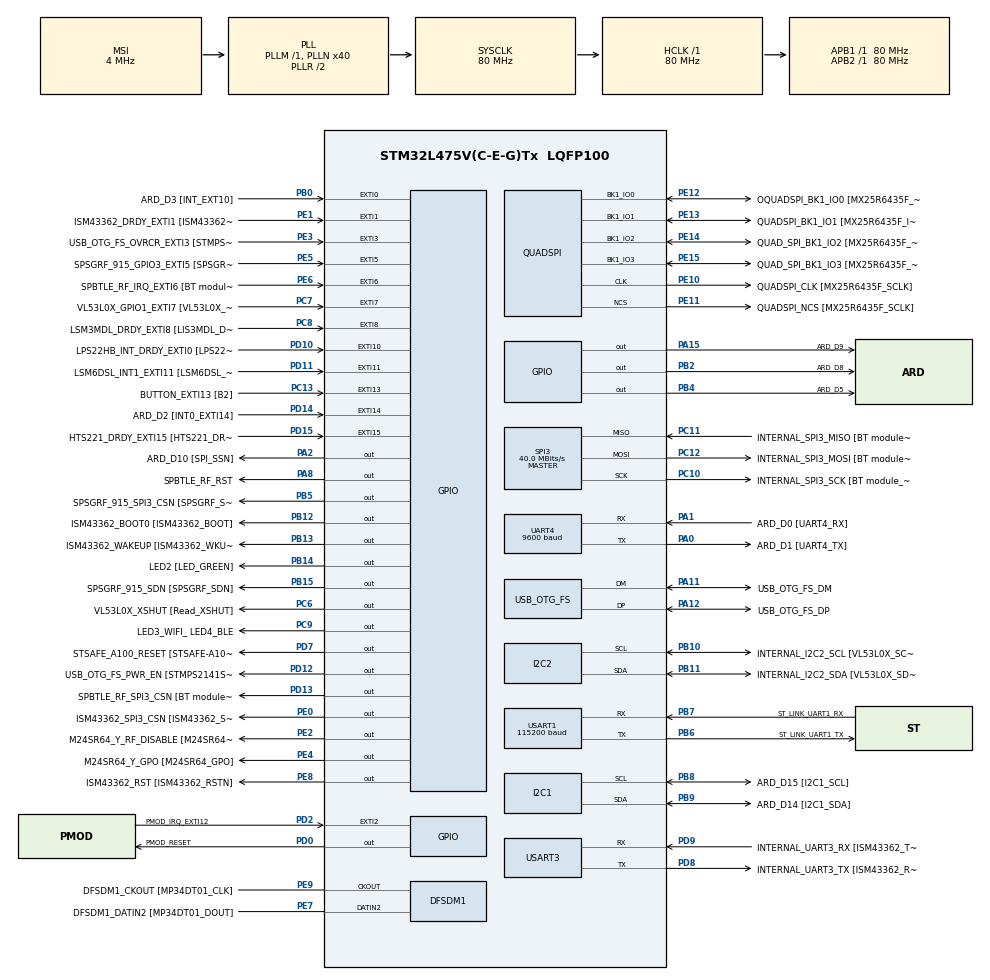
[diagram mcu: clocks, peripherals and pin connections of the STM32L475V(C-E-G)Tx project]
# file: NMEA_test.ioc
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Dma.Request0=UART4_RX
Dma.UART4_RX.0.Direction=DMA_PERIPH_TO_MEMORY
Dma.UART4_RX.0.Instance=DMA2_Channel5
Dma.UART4_RX.0.MemDataAlignment=DMA_MDATAALIGN_BYTE
Dma.UART4_RX.0.MemInc=DMA_MINC_ENABLE
Dma.UART4_RX.0.Mode=DMA_NORMAL
Dma.UART4_RX.0.PeriphDataAlignment=DMA_PDATAALIGN_BYTE
Dma.UART4_RX.0.PeriphInc=DMA_PINC_DISABLE
Dma.UART4_RX.0.Priority=DMA_PRIORITY_LOW
I2C1.Speed=100
I2C1.Timing=0x10909CEC
I2C2.Timing=0x10909CEC
Mcu.Family=STM32L4
Mcu.Name=STM32L475V(C-E-G)Tx
Mcu.Package=LQFP100
NVIC.DMA2_Channel5_IRQn=true\:0\:0\:false\:false\:true\:false\:true
NVIC.EXTI15_10_IRQn=true\:0\:0\:false\:false\:true\:true\:true
NVIC.EXTI9_5_IRQn=true\:0\:0\:false\:false\:true\:true\:true
NVIC.I2C1_EV_IRQn=true\:0\:0\:false\:false\:true\:true\:true
NVIC.PriorityGroup=NVIC_PRIORITYGROUP_4
NVIC.UART4_IRQn=true\:0\:0\:false\:false\:true\:true\:true
NVIC.USART1_IRQn=true\:0\:0\:false\:false\:true\:true\:true
PA0.GPIO_Label=ARD_D1 [UART4_TX]
PA0.Mode=Asynchronous
PA0.Signal=UART4_TX
PA1.GPIO_Label=ARD_D0 [UART4_RX]
PA1.Mode=Asynchronous
PA1.Signal=UART4_RX
PA10.GPIO_Label=USB_OTG_FS_ID
PA10.Signal=USB_OTG_FS_ID
PA11.GPIO_Label=USB_OTG_FS_DM
PA11.Mode=Device_Only
PA11.Signal=USB_OTG_FS_DM
PA12.GPIO_Label=USB_OTG_FS_DP
PA12.Mode=Device_Only
PA12.Signal=USB_OTG_FS_DP
PA13\ (JTMS-SWDIO).GPIO_Label=SYS_JTMS_SWDIO
PA13\ (JTMS-SWDIO).Mode=Serial_Wire
PA13\ (JTMS-SWDIO).Signal=SYS_JTMS-SWDIO
PA14\ (JTCK-SWCLK).GPIO_Label=SYS_JTCK_SWCLK
PA14\ (JTCK-SWCLK).Mode=Serial_Wire
PA14\ (JTCK-SWCLK).Signal=SYS_JTCK-SWCLK
PA15\ (JTDI).GPIO_Label=ARD_D9
PA15\ (JTDI).Signal=GPIO_Output
PA2.GPIO_Label=ARD_D10 [SPI_SSN]
PA2.Signal=GPIO_Output
PA3.GPIO_Label=ARD_D4
PA3.Signal=S_TIM2_CH4
PA4.GPIO_Label=ARD_D7
PA4.Signal=ADCx_IN9
PA5.GPIO_Label=ARD_D13 [SPI1_SCK]
PA5.Signal=SPI1_SCK
PA6.GPIO_Label=ARD_D12 [SPI1_MISO]
PA6.Signal=SPI1_MISO
PA7.GPIO_Label=ARD_D11 [SPI1_MOSI]
PA7.Signal=SPI1_MOSI
PA8.GPIO_Label=SPBTLE_RF_RST
PA8.Signal=GPIO_Output
PA9.GPIO_Label=USB_OTG_FS_VBUS [STMPS2141STR_OUT]
PA9.Signal=USB_OTG_FS_VBUS
PB0.GPIO_Label=ARD_D3 [INT_EXT10]
PB0.Signal=GPXTI0
PB1.GPIO_Label=ARD_D6 [ADC1_IN6]
PB1.Signal=ADCx_IN16
PB10.GPIO_Label=INTERNAL_I2C2_SCL [VL53L0X_SCL]
PB10.Mode=I2C
PB10.Signal=I2C2_SCL
PB11.GPIO_Label=INTERNAL_I2C2_SDA [VL53L0X_SDA]
PB11.Mode=I2C
PB11.Signal=I2C2_SDA
PB12.GPIO_Label=ISM43362_BOOT0 [ISM43362_BOOT]
PB12.Signal=GPIO_Output
PB13.GPIO_Label=ISM43362_WAKEUP [ISM43362_WKUP]
PB13.Signal=GPIO_Output
PB14.GPIO_Label=LED2 [LED_GREEN]
PB14.Signal=GPIO_Output
PB15.GPIO_Label=SPSGRF_915_SDN [SPSGRF_SDN]
PB15.Signal=GPIO_Output
PB2.GPIO_Label=ARD_D8
PB2.Signal=GPIO_Output
PB3\ (JTDO-TRACESWO).GPIO_Label=SYS_JTD0_SWO
PB3\ (JTDO-TRACESWO).Signal=SYS_JTDO-SWO
PB4\ (NJTRST).GPIO_Label=ARD_D5
PB4\ (NJTRST).Signal=GPIO_Output
PB5.GPIO_Label=SPSGRF_915_SPI3_CSN [SPSGRF_SPI_CS]
PB5.PinState=GPIO_PIN_SET
PB5.Signal=GPIO_Output
PB6.GPIO_Label=ST_LINK_UART1_TX
PB6.Mode=Asynchronous
PB6.Signal=USART1_TX
PB7.GPIO_Label=ST_LINK_UART1_RX
PB7.Mode=Asynchronous
PB7.Signal=USART1_RX
PB8.GPIO_Label=ARD_D15 [I2C1_SCL]
PB8.Mode=I2C
PB8.Signal=I2C1_SCL
PB9.GPIO_Label=ARD_D14 [I2C1_SDA]
PB9.Mode=I2C
PB9.Signal=I2C1_SDA
PC0.GPIO_Label=ARD_A5 [ADC]
PC0.Signal=ADCx_IN1
PC1.GPIO_Label=ARD_A4 [ADC]
PC1.Signal=ADCx_IN2
PC10.GPIO_Label=INTERNAL_SPI3_SCK [BT module_SPI_SCLK] [ISM43362_SCK]
PC10.Mode=Full_Duplex_Master
PC10.Signal=SPI3_SCK
PC11.GPIO_Label=INTERNAL_SPI3_MISO [BT module_SPI_MISO] [ISM43362_MISO]
PC11.Mode=Full_Duplex_Master
PC11.Signal=SPI3_MISO
PC12.GPIO_Label=INTERNAL_SPI3_MOSI [BT module_SPI_MOSI] [ISM43362_MOSI]
PC12.Mode=Full_Duplex_Master
PC12.Signal=SPI3_MOSI
PC13.GPIO_Label=BUTTON_EXTI13 [B2]
PC13.GPIO_ModeDefaultEXTI=GPIO_MODE_IT_FALLING
PC13.Signal=GPXTI13
PC14-OSC32_IN\ (PC14).Mode=LSE-External-Oscillator
PC14-OSC32_IN\ (PC14).Signal=RCC_OSC32_IN
PC15-OSC32_OUT\ (PC15).Mode=LSE-External-Oscillator
PC15-OSC32_OUT\ (PC15).Signal=RCC_OSC32_OUT
PC2.GPIO_Label=ARD_A3 [ADC]
PC2.Signal=ADCx_IN3
PC3.GPIO_Label=ARD_A2 [ADC]
PC3.Signal=ADCx_IN4
PC4.GPIO_Label=ARD_A1 [ADC]
PC4.Signal=ADCx_IN13
PC5.GPIO_Label=ARD_A0 [ADC]
PC5.Signal=ADCx_IN14
PC6.GPIO_Label=VL53L0X_XSHUT [Read_XSHUT]
PC6.Signal=GPIO_Output
PC7.GPIO_Label=VL53L0X_GPIO1_EXTI7 [VL53L0X_GPIO1]
PC7.Signal=GPXTI7
PC8.GPIO_Label=LSM3MDL_DRDY_EXTI8 [LIS3MDL_DRDY]
PC8.Signal=GPXTI8
PC9.GPIO_Label=LED3_WIFI_ LED4_BLE
PC9.Signal=GPIO_Output
PD0.GPIO_Label=PMOD_RESET
PD0.Signal=GPIO_Output
PD1.GPIO_Label=PMOD_SPI2_SCK
PD1.Signal=SPI2_SCK
PD10.GPIO_Label=LPS22HB_INT_DRDY_EXTI0 [LPS22HB_INT_DRDY] 
PD10.Signal=GPXTI10
PD11.GPIO_Label=LSM6DSL_INT1_EXTI11 [LSM6DSL_INT1]
PD11.Signal=GPXTI11
PD12.GPIO_Label=USB_OTG_FS_PWR_EN [STMPS2141STR_EN]
PD12.Signal=GPIO_Output
PD13.GPIO_Label=SPBTLE_RF_SPI3_CSN [BT module_SPI_CS]
PD13.PinState=GPIO_PIN_SET
PD13.Signal=GPIO_Output
PD14.GPIO_Label=ARD_D2 [INT0_EXTI14]
PD14.Signal=GPXTI14
PD15.GPIO_Label=HTS221_DRDY_EXTI15 [HTS221_DRDY]
PD15.Signal=GPXTI15
PD2.GPIO_Label=PMOD_IRQ_EXTI12
PD2.Signal=GPXTI2
PD3.GPIO_Label=PMOD_UART2_CTS
PD3.Signal=USART2_CTS
PD4.GPIO_Label=PMOD_UART2_RTS
PD4.Signal=USART2_RTS
PD5.GPIO_Label=PMOD_UART2_TX
PD5.Signal=USART2_TX
PD6.GPIO_Label=PMOD_UART2_RX
PD6.Signal=USART2_RX
PD7.GPIO_Label=STSAFE_A100_RESET [STSAFE-A100_RESET]
PD7.Signal=GPIO_Output
PD8.GPIO_Label=INTERNAL_UART3_TX [ISM43362_RX]
PD8.Mode=Asynchronous
PD8.Signal=USART3_TX
PD9.GPIO_Label=INTERNAL_UART3_RX [ISM43362_TX]
PD9.Mode=Asynchronous
PD9.Signal=USART3_RX
PE0.GPIO_Label=ISM43362_SPI3_CSN [ISM43362_SSN]
PE0.PinState=GPIO_PIN_SET
PE0.Signal=GPIO_Output
PE1.GPIO_Label=ISM43362_DRDY_EXTI1 [ISM43362_DATARDY]
PE1.Signal=GPXTI1
PE10.GPIO_Label=QUADSPI_CLK [MX25R6435F_SCLK]
PE10.Mode=Single Bank
PE10.Signal=QUADSPI_CLK
PE11.GPIO_Label=QUADSPI_NCS [MX25R6435F_SCLK]
PE11.Mode=Single Bank
PE11.Signal=QUADSPI_NCS
PE12.GPIO_Label=OQUADSPI_BK1_IO0 [MX25R6435F_IO0]
PE12.Mode=Single Bank
PE12.Signal=QUADSPI_BK1_IO0
PE13.GPIO_Label=QUADSPI_BK1_IO1 [MX25R6435F_IO1]
PE13.Mode=Single Bank
PE13.Signal=QUADSPI_BK1_IO1
PE14.GPIO_Label=QUAD_SPI_BK1_IO2 [MX25R6435F_IO2]
PE14.Mode=Single Bank
PE14.Signal=QUADSPI_BK1_IO2
PE15.GPIO_Label=QUAD_SPI_BK1_IO3 [MX25R6435F_IO3]
PE15.Mode=Single Bank
PE15.Signal=QUADSPI_BK1_IO3
PE2.GPIO_Label=M24SR64_Y_RF_DISABLE [M24SR64_RFDIS]
PE2.Signal=GPIO_Output
PE3.GPIO_Label=USB_OTG_FS_OVRCR_EXTI3 [STMPS2141STR_FAULT]
PE3.Signal=GPXTI3
PE4.GPIO_Label=M24SR64_Y_GPO [M24SR64_GPO]
PE4.Signal=GPIO_Output
PE5.GPIO_Label=SPSGRF_915_GPIO3_EXTI5 [SPSGRF_GPIO_3]
PE5.Signal=GPXTI5
PE6.GPIO_Label=SPBTLE_RF_IRQ_EXTI6 [BT module_SPI_IRQ]
PE6.Signal=GPXTI6
PE7.GPIO_Label=DFSDM1_DATIN2 [MP34DT01_DOUT]
PE7.Signal=S_DATAIN2DFSDM1
PE8.GPIO_Label=ISM43362_RST [ISM43362_RSTN]
PE8.Signal=GPIO_Output
PE9.GPIO_Label=DFSDM1_CKOUT [MP34DT01_CLK]
PE9.Signal=S_CKOUTDFSDM1
ProjectManager.HeapSize=0x200
ProjectManager.StackSize=0x400
ProjectManager.TargetToolchain=STM32CubeIDE
RCC.ADCFreq_Value=48000000
RCC.AHBFreq_Value=80000000
RCC.APB1Freq_Value=80000000
RCC.APB1TimFreq_Value=80000000
RCC.APB2Freq_Value=80000000
RCC.APB2TimFreq_Value=80000000
RCC.CortexFreq_Value=80000000
RCC.HCLKFreq_Value=80000000
RCC.HSE_VALUE=8000000
RCC.HSI_VALUE=16000000
RCC.MSI_VALUE=4000000
RCC.PLLN=40
RCC.PLLSAI1N=24
RCC.SYSCLKFreq_VALUE=80000000
RCC.SYSCLKSource=RCC_SYSCLKSOURCE_PLLCLK
RCC.USBFreq_Value=48000000
RCC.VCOOutputFreq_Value=160000000
SH.ADCx_IN1.0=ADC1_IN1
SH.ADCx_IN13.0=ADC1_IN13
SH.ADCx_IN14.0=ADC1_IN14
SH.ADCx_IN16.0=ADC1_IN16
SH.ADCx_IN2.0=ADC1_IN2
SH.ADCx_IN3.0=ADC1_IN3
SH.ADCx_IN4.0=ADC1_IN4
SH.ADCx_IN9.0=ADC1_IN9
SH.S_CKOUTDFSDM1.0=DFSDM1_CKOUT,CKOUT
SH.S_CKOUTDFSDM1.1=DFSDM1_CKOUT,PDM_SPI_Input_from_ch12_and_Internal_Clock
SH.S_DATAIN2DFSDM1.0=DFSDM1_DATIN2,PDM_SPI_Input_from_ch12_and_Internal_Clock
SH.S_TIM2_CH4.0=TIM2_CH4
SPI3.CalculateBaudRate=40.0 MBits/s
SPI3.Direction=SPI_DIRECTION_2LINES
SPI3.Mode=SPI_MODE_MASTER
SPI3.VirtualType=VM_MASTER
UART4.BaudRate=9600
USART1.BaudRate=115200
USART1.VirtualMode-Asynchronous=VM_ASYNC
USART3.VirtualMode-Asynchronous=VM_ASYNC
USB_OTG_FS.VirtualMode=Device_Only
board=B-L475E-IOT01A2

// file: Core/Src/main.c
/* USER CODE BEGIN Header */
/**
  ******************************************************************************
  * @file           : main.c
  * @brief          : Main program body
  * @author			Michał Pałka
  ******************************************************************************
  * @attention
  *
  * <h2><center>&copy; Copyright (c) 2020 STMicroelectronics.
  * All rights reserved.</center></h2>
  *
  * This software component is licensed by ST under BSD 3-Clause license,
  * the "License"; You may not use this file except in compliance with the
  * License. You may obtain a copy of the License at:
  *                        opensource.org/licenses/BSD-3-Clause
  *
  ******************************************************************************
  */
/* USER CODE END Header */
#include "main.h"

/* USER CODE BEGIN Includes */
#include "i2c-lcd.h"
#include "uart-comport.h"
/* USER CODE END Includes */

DFSDM_Channel_HandleTypeDef hdfsdm1_channel1;

I2C_HandleTypeDef hi2c1;
I2C_HandleTypeDef hi2c2;

QSPI_HandleTypeDef hqspi;

SPI_HandleTypeDef hspi3;

UART_HandleTypeDef huart4;
UART_HandleTypeDef huart1;
UART_HandleTypeDef huart3;
DMA_HandleTypeDef hdma_uart4_rx;

PCD_HandleTypeDef hpcd_USB_OTG_FS;

/* USER CODE BEGIN PV */
extern uint8_t uart_Tx_flag;
extern uint8_t i2c_Tx_flag;
/* USER CODE END PV */

void SystemClock_Config(void);
static void MX_GPIO_Init(void);
static void MX_DMA_Init(void);
static void MX_DFSDM1_Init(void);
static void MX_I2C2_Init(void);
static void MX_QUADSPI_Init(void);
static void MX_SPI3_Init(void);
static void MX_USART1_UART_Init(void);
static void MX_USART3_UART_Init(void);
static void MX_USB_OTG_FS_PCD_Init(void);
static void MX_UART4_Init(void);
static void MX_I2C1_Init(void);

/* USER CODE BEGIN 0 */

int time;		/**< is a acceleration measurement var which represents time of acceleration in seconds*/
int start = 0;	/**< is a start of measurement var which represents speed in kmph*/
int stop = 0;	/**< is a stop of measurement var which represents speed in kmph*/
uint8_t message[50]={0};	/**< compotr UART Tx buffer which stores massage sending to comport*/
/**
 * HAL_UART_RxCpltCallback is triggered after end of UART Rx transmission. It calls uatr_comport_read_data() from uart-comport driver.
 * @param[in]	huart	is a pointer to UART handle structure
 */
void HAL_UART_RxCpltCallback(UART_HandleTypeDef *huart)
{
	if(huart == &huart1) uatr_comport_read_data();
}
/**
 * HAL_UART_TxCpltCallback is triggered after end of UART Tx transmission. It zeros sent message buffer.
 * @param[in]	huart	is a pointer to UART handle structure
 */
void HAL_UART_TxCpltCallback(UART_HandleTypeDef *huart){
	if(huart == &huart1){
		memset((char*)message,0,50);
		uart_Tx_flag=0;
	}
}
/**
 * stop_measure_speed_CB is a callback function which ends acceleration measurement and unregister CB when speed will exceed given value.
 *
 * It unregisters callback, calculates acceleration time, displays result on LCD and sends it to comport.
 */
void stop_measure_speed_CB(void){
	time = nmea_data.UTC_time - time;
	NMEA_CB_unregister(SPEED_RISE_BARRIER_CB);
	while(uart_Tx_flag){}
	sprintf((char*)message,"%d-%d: %d s\n",start,stop,time);
	uatr_comport_send_data(message, strlen((char*)message));
	char data[16]={0};
	sprintf(data,"%d-%d: %d s",start,stop,time);
	while(i2c_Tx_flag){}
	lcd_put_cur(1, 0);
	lcd_send_string(data);
}
/**
 * start_measure_speed_CB is a callback function which starts acceleration measurement and register stop_measure_speed_CB callback function when speed will exceed given value.
 *
 * It sets time of start measurement and registers stop_measure_speed_CB().
 */
void start_measure_speed_CB(void){
	time = nmea_data.UTC_time;
	NMEA_CB_register(&stop_measure_speed_CB, SPEED_RISE_BARRIER_CB, stop);
}

/**
 * task is implementation of communication protocol defined in "uart-comport.h".
 *
 * If start_tmp < stop_tmp it register start_measure_speed_CB(), displays boundaries of measurement on LCD and sends suitable message to the comport.
 *
 * If stop_tmp==start_tmp it unregisters SPEED_RISE_BARRIER_CB and sends suitable message to the comport.
 *
 * Else it do nothing except sending suitable message to the comport.
 */
void task(void){
  int start_tmp = atoi((char*)start_speed);
  int stop_tmp = atoi((char*)stop_speed);
  if(start_tmp < stop_tmp){
	  start=start_tmp;
	  stop=stop_tmp;
	  NMEA_CB_register(&start_measure_speed_CB, SPEED_RISE_BARRIER_CB, start);

	  sprintf((char *)message, "measurement accepted\n");
	  uatr_comport_send_data(message, strlen((char *)message));

	  char data[16]={0};
	  sprintf(data,"%d-%d:",start,stop);
	  lcd_put_cur(1, 0);
	  lcd_send_string(data);

  }else if (stop_tmp==start_tmp){
	  NMEA_CB_unregister(SPEED_RISE_BARRIER_CB);

	  sprintf((char *)message, "measurement cancelled\n");
	  uatr_comport_send_data(message, strlen((char *)message));

	  lcd_put_cur(1, 0);
	  lcd_send_string("                ");
  }else {
	  sprintf((char *)message, "stop %d less then start %d\n",stop_tmp,start_tmp);
	  uatr_comport_send_data(message, strlen((char *)message));
  }
}
/**
 * speedometer_CB is a callback to change of speed event.
 *
 * It displays current speed on LCD and sends it to comport.
 */
void speedometer_CB(void){
	char speed[5]={0};
	sprintf((char*)message,"speed: %3.0f km/h \n",nmea_data.speed_kmph);
	uatr_comport_send_data(message, strlen((char*)message));
	sprintf(speed,"%3.0f",nmea_data.speed_kmph);
	lcd_put_cur(0, 7);
	lcd_send_string(speed);
}
/* USER CODE END 0 */

int main(void)
{

  /* MCU Configuration--------------------------------------------------------*/

  /* Reset of all peripherals, Initializes the Flash interface and the Systick. */
  HAL_Init();

  /* Configure the system clock */
  SystemClock_Config();

  /* Initialize all configured peripherals */
  MX_GPIO_Init();
  MX_DMA_Init();
  MX_DFSDM1_Init();
  MX_I2C2_Init();
  MX_QUADSPI_Init();
  MX_SPI3_Init();
  MX_USART1_UART_Init();
  MX_USART3_UART_Init();
  MX_USB_OTG_FS_PCD_Init();
  MX_UART4_Init();
  MX_I2C1_Init();
  /* USER CODE BEGIN 2 */

  lcd_init();		//LCD initialization
  uatr_comport_comunication_init(&huart1);	//uart-comport driver initialization
  NMEA_init(&huart4, &hdma_uart4_rx);	//NMEA library initialization
  char lcd_buf[16] = {0};
  sprintf(lcd_buf,"SPEED: %3.0f km/h",nmea_data.speed_kmph);
  lcd_send_string(lcd_buf);

  NMEA_CB_register(&speedometer_CB, SPEED_CHANGE_CB, 1e-3);	//speedometer_CB registration

  /* USER CODE END 2 */

  /* Infinite loop */
  /* USER CODE BEGIN WHILE */
  while (1)
  {
	  NMEA_process_task();
	  uart_comport_task(&task);
    /* USER CODE END WHILE */

  }
}

void SystemClock_Config(void)
{
  RCC_OscInitTypeDef RCC_OscInitStruct = {0};
  RCC_ClkInitTypeDef RCC_ClkInitStruct = {0};
  RCC_PeriphCLKInitTypeDef PeriphClkInit = {0};

  /** Configure LSE Drive Capability
  */
  HAL_PWR_EnableBkUpAccess();
  __HAL_RCC_LSEDRIVE_CONFIG(RCC_LSEDRIVE_LOW);
  /** Initializes the RCC Oscillators according to the specified parameters
  * in the RCC_OscInitTypeDef structure.
  */
  RCC_OscInitStruct.OscillatorType = RCC_OSCILLATORTYPE_LSE|RCC_OSCILLATORTYPE_MSI;
  RCC_OscInitStruct.LSEState = RCC_LSE_ON;
  RCC_OscInitStruct.MSIState = RCC_MSI_ON;
  RCC_OscInitStruct.MSICalibrationValue = 0;
  RCC_OscInitStruct.MSIClockRange = RCC_MSIRANGE_6;
  RCC_OscInitStruct.PLL.PLLState = RCC_PLL_ON;
  RCC_OscInitStruct.PLL.PLLSource = RCC_PLLSOURCE_MSI;
  RCC_OscInitStruct.PLL.PLLM = 1;
  RCC_OscInitStruct.PLL.PLLN = 40;
  RCC_OscInitStruct.PLL.PLLP = RCC_PLLP_DIV7;
  RCC_OscInitStruct.PLL.PLLQ = RCC_PLLQ_DIV2;
  RCC_OscInitStruct.PLL.PLLR = RCC_PLLR_DIV2;
  if (HAL_RCC_OscConfig(&RCC_OscInitStruct) != HAL_OK)
  {
    Error_Handler();
  }
  /** Initializes the CPU, AHB and APB buses clocks
  */
  RCC_ClkInitStruct.ClockType = RCC_CLOCKTYPE_HCLK|RCC_CLOCKTYPE_SYSCLK
                              |RCC_CLOCKTYPE_PCLK1|RCC_CLOCKTYPE_PCLK2;
  RCC_ClkInitStruct.SYSCLKSource = RCC_SYSCLKSOURCE_PLLCLK;
  RCC_ClkInitStruct.AHBCLKDivider = RCC_SYSCLK_DIV1;
  RCC_ClkInitStruct.APB1CLKDivider = RCC_HCLK_DIV1;
  RCC_ClkInitStruct.APB2CLKDivider = RCC_HCLK_DIV1;

  if (HAL_RCC_ClockConfig(&RCC_ClkInitStruct, FLASH_LATENCY_4) != HAL_OK)
  {
    Error_Handler();
  }
  PeriphClkInit.PeriphClockSelection = RCC_PERIPHCLK_USART1|RCC_PERIPHCLK_USART3
                              |RCC_PERIPHCLK_UART4|RCC_PERIPHCLK_I2C1
                              |RCC_PERIPHCLK_I2C2|RCC_PERIPHCLK_DFSDM1
                              |RCC_PERIPHCLK_USB;
  PeriphClkInit.Usart1ClockSelection = RCC_USART1CLKSOURCE_PCLK2;
  PeriphClkInit.Usart3ClockSelection = RCC_USART3CLKSOURCE_PCLK1;
  PeriphClkInit.Uart4ClockSelection = RCC_UART4CLKSOURCE_PCLK1;
  PeriphClkInit.I2c1ClockSelection = RCC_I2C1CLKSOURCE_PCLK1;
  PeriphClkInit.I2c2ClockSelection = RCC_I2C2CLKSOURCE_PCLK1;
  PeriphClkInit.Dfsdm1ClockSelection = RCC_DFSDM1CLKSOURCE_PCLK;
  PeriphClkInit.UsbClockSelection = RCC_USBCLKSOURCE_PLLSAI1;
  PeriphClkInit.PLLSAI1.PLLSAI1Source = RCC_PLLSOURCE_MSI;
  PeriphClkInit.PLLSAI1.PLLSAI1M = 1;
  PeriphClkInit.PLLSAI1.PLLSAI1N = 24;
  PeriphClkInit.PLLSAI1.PLLSAI1P = RCC_PLLP_DIV7;
  PeriphClkInit.PLLSAI1.PLLSAI1Q = RCC_PLLQ_DIV2;
  PeriphClkInit.PLLSAI1.PLLSAI1R = RCC_PLLR_DIV2;
  PeriphClkInit.PLLSAI1.PLLSAI1ClockOut = RCC_PLLSAI1_48M2CLK;
  if (HAL_RCCEx_PeriphCLKConfig(&PeriphClkInit) != HAL_OK)
  {
    Error_Handler();
  }
  /** Configure the main internal regulator output voltage
  */
  if (HAL_PWREx_ControlVoltageScaling(PWR_REGULATOR_VOLTAGE_SCALE1) != HAL_OK)
  {
    Error_Handler();
  }
  /** Enable MSI Auto calibration
  */
  HAL_RCCEx_EnableMSIPLLMode();
}

static void MX_DFSDM1_Init(void)
{

  hdfsdm1_channel1.Instance = DFSDM1_Channel1;
  hdfsdm1_channel1.Init.OutputClock.Activation = ENABLE;
  hdfsdm1_channel1.Init.OutputClock.Selection = DFSDM_CHANNEL_OUTPUT_CLOCK_SYSTEM;
  hdfsdm1_channel1.Init.OutputClock.Divider = 2;
  hdfsdm1_channel1.Init.Input.Multiplexer = DFSDM_CHANNEL_EXTERNAL_INPUTS;
  hdfsdm1_channel1.Init.Input.DataPacking = DFSDM_CHANNEL_STANDARD_MODE;
  hdfsdm1_channel1.Init.Input.Pins = DFSDM_CHANNEL_FOLLOWING_CHANNEL_PINS;
  hdfsdm1_channel1.Init.SerialInterface.Type = DFSDM_CHANNEL_SPI_RISING;
  hdfsdm1_channel1.Init.SerialInterface.SpiClock = DFSDM_CHANNEL_SPI_CLOCK_INTERNAL;
  hdfsdm1_channel1.Init.Awd.FilterOrder = DFSDM_CHANNEL_FASTSINC_ORDER;
  hdfsdm1_channel1.Init.Awd.Oversampling = 1;
  hdfsdm1_channel1.Init.Offset = 0;
  hdfsdm1_channel1.Init.RightBitShift = 0x00;
  if (HAL_DFSDM_ChannelInit(&hdfsdm1_channel1) != HAL_OK)
  {
    Error_Handler();
  }

}

static void MX_I2C1_Init(void)
{

  hi2c1.Instance = I2C1;
  hi2c1.Init.Timing = 0x10909CEC;
  hi2c1.Init.OwnAddress1 = 0;
  hi2c1.Init.AddressingMode = I2C_ADDRESSINGMODE_7BIT;
  hi2c1.Init.DualAddressMode = I2C_DUALADDRESS_DISABLE;
  hi2c1.Init.OwnAddress2 = 0;
  hi2c1.Init.OwnAddress2Masks = I2C_OA2_NOMASK;
  hi2c1.Init.GeneralCallMode = I2C_GENERALCALL_DISABLE;
  hi2c1.Init.NoStretchMode = I2C_NOSTRETCH_DISABLE;
  if (HAL_I2C_Init(&hi2c1) != HAL_OK)
  {
    Error_Handler();
  }
  /** Configure Analogue filter
  */
  if (HAL_I2CEx_ConfigAnalogFilter(&hi2c1, I2C_ANALOGFILTER_ENABLE) != HAL_OK)
  {
    Error_Handler();
  }
  /** Configure Digital filter
  */
  if (HAL_I2CEx_ConfigDigitalFilter(&hi2c1, 0) != HAL_OK)
  {
    Error_Handler();
  }

}

static void MX_I2C2_Init(void)
{

  hi2c2.Instance = I2C2;
  hi2c2.Init.Timing = 0x10909CEC;
  hi2c2.Init.OwnAddress1 = 0;
  hi2c2.Init.AddressingMode = I2C_ADDRESSINGMODE_7BIT;
  hi2c2.Init.DualAddressMode = I2C_DUALADDRESS_DISABLE;
  hi2c2.Init.OwnAddress2 = 0;
  hi2c2.Init.OwnAddress2Masks = I2C_OA2_NOMASK;
  hi2c2.Init.GeneralCallMode = I2C_GENERALCALL_DISABLE;
  hi2c2.Init.NoStretchMode = I2C_NOSTRETCH_DISABLE;
  if (HAL_I2C_Init(&hi2c2) != HAL_OK)
  {
    Error_Handler();
  }
  /** Configure Analogue filter
  */
  if (HAL_I2CEx_ConfigAnalogFilter(&hi2c2, I2C_ANALOGFILTER_ENABLE) != HAL_OK)
  {
    Error_Handler();
  }
  /** Configure Digital filter
  */
  if (HAL_I2CEx_ConfigDigitalFilter(&hi2c2, 0) != HAL_OK)
  {
    Error_Handler();
  }

}

static void MX_QUADSPI_Init(void)
{

  /* QUADSPI parameter configuration*/
  hqspi.Instance = QUADSPI;
  hqspi.Init.ClockPrescaler = 255;
  hqspi.Init.FifoThreshold = 1;
  hqspi.Init.SampleShifting = QSPI_SAMPLE_SHIFTING_NONE;
  hqspi.Init.FlashSize = 1;
  hqspi.Init.ChipSelectHighTime = QSPI_CS_HIGH_TIME_1_CYCLE;
  hqspi.Init.ClockMode = QSPI_CLOCK_MODE_0;
  if (HAL_QSPI_Init(&hqspi) != HAL_OK)
  {
    Error_Handler();
  }

}

static void MX_SPI3_Init(void)
{

  /* SPI3 parameter configuration*/
  hspi3.Instance = SPI3;
  hspi3.Init.Mode = SPI_MODE_MASTER;
  hspi3.Init.Direction = SPI_DIRECTION_2LINES;
  hspi3.Init.DataSize = SPI_DATASIZE_4BIT;
  hspi3.Init.CLKPolarity = SPI_POLARITY_LOW;
  hspi3.Init.CLKPhase = SPI_PHASE_1EDGE;
  hspi3.Init.NSS = SPI_NSS_SOFT;
  hspi3.Init.BaudRatePrescaler = SPI_BAUDRATEPRESCALER_2;
  hspi3.Init.FirstBit = SPI_FIRSTBIT_MSB;
  hspi3.Init.TIMode = SPI_TIMODE_DISABLE;
  hspi3.Init.CRCCalculation = SPI_CRCCALCULATION_DISABLE;
  hspi3.Init.CRCPolynomial = 7;
  hspi3.Init.CRCLength = SPI_CRC_LENGTH_DATASIZE;
  hspi3.Init.NSSPMode = SPI_NSS_PULSE_ENABLE;
  if (HAL_SPI_Init(&hspi3) != HAL_OK)
  {
    Error_Handler();
  }

}

static void MX_UART4_Init(void)
{

  huart4.Instance = UART4;
  huart4.Init.BaudRate = 9600;
  huart4.Init.WordLength = UART_WORDLENGTH_8B;
  huart4.Init.StopBits = UART_STOPBITS_1;
  huart4.Init.Parity = UART_PARITY_NONE;
  huart4.Init.Mode = UART_MODE_TX_RX;
  huart4.Init.HwFlowCtl = UART_HWCONTROL_NONE;
  huart4.Init.OverSampling = UART_OVERSAMPLING_16;
  huart4.Init.OneBitSampling = UART_ONE_BIT_SAMPLE_DISABLE;
  huart4.AdvancedInit.AdvFeatureInit = UART_ADVFEATURE_NO_INIT;
  if (HAL_UART_Init(&huart4) != HAL_OK)
  {
    Error_Handler();
  }

}

static void MX_USART1_UART_Init(void)
{

  huart1.Instance = USART1;
  huart1.Init.BaudRate = 115200;
  huart1.Init.WordLength = UART_WORDLENGTH_8B;
  huart1.Init.StopBits = UART_STOPBITS_1;
  huart1.Init.Parity = UART_PARITY_NONE;
  huart1.Init.Mode = UART_MODE_TX_RX;
  huart1.Init.HwFlowCtl = UART_HWCONTROL_NONE;
  huart1.Init.OverSampling = UART_OVERSAMPLING_16;
  huart1.Init.OneBitSampling = UART_ONE_BIT_SAMPLE_DISABLE;
  huart1.AdvancedInit.AdvFeatureInit = UART_ADVFEATURE_NO_INIT;
  if (HAL_UART_Init(&huart1) != HAL_OK)
  {
    Error_Handler();
  }

}

static void MX_USART3_UART_Init(void)
{

  huart3.Instance = USART3;
  huart3.Init.BaudRate = 115200;
  huart3.Init.WordLength = UART_WORDLENGTH_8B;
  huart3.Init.StopBits = UART_STOPBITS_1;
  huart3.Init.Parity = UART_PARITY_NONE;
  huart3.Init.Mode = UART_MODE_TX_RX;
  huart3.Init.HwFlowCtl = UART_HWCONTROL_NONE;
  huart3.Init.OverSampling = UART_OVERSAMPLING_16;
  huart3.Init.OneBitSampling = UART_ONE_BIT_SAMPLE_DISABLE;
  huart3.AdvancedInit.AdvFeatureInit = UART_ADVFEATURE_NO_INIT;
  if (HAL_UART_Init(&huart3) != HAL_OK)
  {
    Error_Handler();
  }

}

static void MX_USB_OTG_FS_PCD_Init(void)
{

  hpcd_USB_OTG_FS.Instance = USB_OTG_FS;
  hpcd_USB_OTG_FS.Init.dev_endpoints = 6;
  hpcd_USB_OTG_FS.Init.speed = PCD_SPEED_FULL;
  hpcd_USB_OTG_FS.Init.phy_itface = PCD_PHY_EMBEDDED;
  hpcd_USB_OTG_FS.Init.Sof_enable = DISABLE;
  hpcd_USB_OTG_FS.Init.low_power_enable = DISABLE;
  hpcd_USB_OTG_FS.Init.lpm_enable = DISABLE;
  hpcd_USB_OTG_FS.Init.battery_charging_enable = DISABLE;
  hpcd_USB_OTG_FS.Init.use_dedicated_ep1 = DISABLE;
  hpcd_USB_OTG_FS.Init.vbus_sensing_enable = DISABLE;
  if (HAL_PCD_Init(&hpcd_USB_OTG_FS) != HAL_OK)
  {
    Error_Handler();
  }

}

static void MX_DMA_Init(void)
{

  /* DMA controller clock enable */
  __HAL_RCC_DMA2_CLK_ENABLE();

  /* DMA interrupt init */
  /* DMA2_Channel5_IRQn interrupt configuration */
  HAL_NVIC_SetPriority(DMA2_Channel5_IRQn, 0, 0);
  HAL_NVIC_EnableIRQ(DMA2_Channel5_IRQn);

}

static void MX_GPIO_Init(void)
{
  GPIO_InitTypeDef GPIO_InitStruct = {0};

  /* GPIO Ports Clock Enable */
  __HAL_RCC_GPIOE_CLK_ENABLE();
  __HAL_RCC_GPIOC_CLK_ENABLE();
  __HAL_RCC_GPIOA_CLK_ENABLE();
  __HAL_RCC_GPIOB_CLK_ENABLE();
  __HAL_RCC_GPIOD_CLK_ENABLE();

  /*Configure GPIO pin Output Level */
  HAL_GPIO_WritePin(GPIOE, M24SR64_Y_RF_DISABLE_Pin|M24SR64_Y_GPO_Pin|ISM43362_RST_Pin, GPIO_PIN_RESET);

  /*Configure GPIO pin Output Level */
  HAL_GPIO_WritePin(GPIOA, ARD_D10_Pin|SPBTLE_RF_RST_Pin|ARD_D9_Pin, GPIO_PIN_RESET);

  /*Configure GPIO pin Output Level */
  HAL_GPIO_WritePin(GPIOB, ARD_D8_Pin|ISM43362_BOOT0_Pin|ISM43362_WAKEUP_Pin|LED2_Pin
                          |SPSGRF_915_SDN_Pin|ARD_D5_Pin, GPIO_PIN_RESET);

  /*Configure GPIO pin Output Level */
  HAL_GPIO_WritePin(GPIOD, USB_OTG_FS_PWR_EN_Pin|PMOD_RESET_Pin|STSAFE_A100_RESET_Pin, GPIO_PIN_RESET);

  /*Configure GPIO pin Output Level */
  HAL_GPIO_WritePin(SPBTLE_RF_SPI3_CSN_GPIO_Port, SPBTLE_RF_SPI3_CSN_Pin, GPIO_PIN_SET);

  /*Configure GPIO pin Output Level */
  HAL_GPIO_WritePin(GPIOC, VL53L0X_XSHUT_Pin|LED3_WIFI__LED4_BLE_Pin, GPIO_PIN_RESET);

  /*Configure GPIO pin Output Level */
  HAL_GPIO_WritePin(SPSGRF_915_SPI3_CSN_GPIO_Port, SPSGRF_915_SPI3_CSN_Pin, GPIO_PIN_SET);

  /*Configure GPIO pin Output Level */
  HAL_GPIO_WritePin(ISM43362_SPI3_CSN_GPIO_Port, ISM43362_SPI3_CSN_Pin, GPIO_PIN_SET);

  /*Configure GPIO pins : M24SR64_Y_RF_DISABLE_Pin M24SR64_Y_GPO_Pin ISM43362_RST_Pin ISM43362_SPI3_CSN_Pin */
  GPIO_InitStruct.Pin = M24SR64_Y_RF_DISABLE_Pin|M24SR64_Y_GPO_Pin|ISM43362_RST_Pin|ISM43362_SPI3_CSN_Pin;
  GPIO_InitStruct.Mode = GPIO_MODE_OUTPUT_PP;
  GPIO_InitStruct.Pull = GPIO_NOPULL;
  GPIO_InitStruct.Speed = GPIO_SPEED_FREQ_LOW;
  HAL_GPIO_Init(GPIOE, &GPIO_InitStruct);

  /*Configure GPIO pins : USB_OTG_FS_OVRCR_EXTI3_Pin SPSGRF_915_GPIO3_EXTI5_Pin SPBTLE_RF_IRQ_EXTI6_Pin ISM43362_DRDY_EXTI1_Pin */
  GPIO_InitStruct.Pin = USB_OTG_FS_OVRCR_EXTI3_Pin|SPSGRF_915_GPIO3_EXTI5_Pin|SPBTLE_RF_IRQ_EXTI6_Pin|ISM43362_DRDY_EXTI1_Pin;
  GPIO_InitStruct.Mode = GPIO_MODE_IT_RISING;
  GPIO_InitStruct.Pull = GPIO_NOPULL;
  HAL_GPIO_Init(GPIOE, &GPIO_InitStruct);

  /*Configure GPIO pin : BUTTON_EXTI13_Pin */
  GPIO_InitStruct.Pin = BUTTON_EXTI13_Pin;
  GPIO_InitStruct.Mode = GPIO_MODE_IT_FALLING;
  GPIO_InitStruct.Pull = GPIO_NOPULL;
  HAL_GPIO_Init(BUTTON_EXTI13_GPIO_Port, &GPIO_InitStruct);

  /*Configure GPIO pins : ARD_A5_Pin ARD_A4_Pin ARD_A3_Pin ARD_A2_Pin
                           ARD_A1_Pin ARD_A0_Pin */
  GPIO_InitStruct.Pin = ARD_A5_Pin|ARD_A4_Pin|ARD_A3_Pin|ARD_A2_Pin
                          |ARD_A1_Pin|ARD_A0_Pin;
  GPIO_InitStruct.Mode = GPIO_MODE_ANALOG_ADC_CONTROL;
  GPIO_InitStruct.Pull = GPIO_NOPULL;
  HAL_GPIO_Init(GPIOC, &GPIO_InitStruct);

  /*Configure GPIO pins : ARD_D10_Pin SPBTLE_RF_RST_Pin ARD_D9_Pin */
  GPIO_InitStruct.Pin = ARD_D10_Pin|SPBTLE_RF_RST_Pin|ARD_D9_Pin;
  GPIO_InitStruct.Mode = GPIO_MODE_OUTPUT_PP;
  GPIO_InitStruct.Pull = GPIO_NOPULL;
  GPIO_InitStruct.Speed = GPIO_SPEED_FREQ_LOW;
  HAL_GPIO_Init(GPIOA, &GPIO_InitStruct);

  /*Configure GPIO pin : ARD_D4_Pin */
  GPIO_InitStruct.Pin = ARD_D4_Pin;
  GPIO_InitStruct.Mode = GPIO_MODE_AF_PP;
  GPIO_InitStruct.Pull = GPIO_NOPULL;
  GPIO_InitStruct.Speed = GPIO_SPEED_FREQ_LOW;
  GPIO_InitStruct.Alternate = GPIO_AF1_TIM2;
  HAL_GPIO_Init(ARD_D4_GPIO_Port, &GPIO_InitStruct);

  /*Configure GPIO pin : ARD_D7_Pin */
  GPIO_InitStruct.Pin = ARD_D7_Pin;
  GPIO_InitStruct.Mode = GPIO_MODE_ANALOG_ADC_CONTROL;
  GPIO_InitStruct.Pull = GPIO_NOPULL;
  HAL_GPIO_Init(ARD_D7_GPIO_Port, &GPIO_InitStruct);

  /*Configure GPIO pins : ARD_D13_Pin ARD_D12_Pin ARD_D11_Pin */
  GPIO_InitStruct.Pin = ARD_D13_Pin|ARD_D12_Pin|ARD_D11_Pin;
  GPIO_InitStruct.Mode = GPIO_MODE_AF_PP;
  GPIO_InitStruct.Pull = GPIO_NOPULL;
  GPIO_InitStruct.Speed = GPIO_SPEED_FREQ_VERY_HIGH;
  GPIO_InitStruct.Alternate = GPIO_AF5_SPI1;
  HAL_GPIO_Init(GPIOA, &GPIO_InitStruct);

  /*Configure GPIO pin : ARD_D3_Pin */
  GPIO_InitStruct.Pin = ARD_D3_Pin;
  GPIO_InitStruct.Mode = GPIO_MODE_IT_RISING;
  GPIO_InitStruct.Pull = GPIO_NOPULL;
  HAL_GPIO_Init(ARD_D3_GPIO_Port, &GPIO_InitStruct);

  /*Configure GPIO pin : ARD_D6_Pin */
  GPIO_InitStruct.Pin = ARD_D6_Pin;
  GPIO_InitStruct.Mode = GPIO_MODE_ANALOG_ADC_CONTROL;
  GPIO_InitStruct.Pull = GPIO_NOPULL;
  HAL_GPIO_Init(ARD_D6_GPIO_Port, &GPIO_InitStruct);

  /*Configure GPIO pins : ARD_D8_Pin ISM43362_BOOT0_Pin ISM43362_WAKEUP_Pin LED2_Pin
                           SPSGRF_915_SDN_Pin ARD_D5_Pin SPSGRF_915_SPI3_CSN_Pin */
  GPIO_InitStruct.Pin = ARD_D8_Pin|ISM43362_BOOT0_Pin|ISM43362_WAKEUP_Pin|LED2_Pin
                          |SPSGRF_915_SDN_Pin|ARD_D5_Pin|SPSGRF_915_SPI3_CSN_Pin;
  GPIO_InitStruct.Mode = GPIO_MODE_OUTPUT_PP;
  GPIO_InitStruct.Pull = GPIO_NOPULL;
  GPIO_InitStruct.Speed = GPIO_SPEED_FREQ_LOW;
  HAL_GPIO_Init(GPIOB, &GPIO_InitStruct);

  /*Configure GPIO pins : LPS22HB_INT_DRDY_EXTI0_Pin LSM6DSL_INT1_EXTI11_Pin ARD_D2_Pin HTS221_DRDY_EXTI15_Pin
                           PMOD_IRQ_EXTI12_Pin */
  GPIO_InitStruct.Pin = LPS22HB_INT_DRDY_EXTI0_Pin|LSM6DSL_INT1_EXTI11_Pin|ARD_D2_Pin|HTS221_DRDY_EXTI15_Pin
                          |PMOD_IRQ_EXTI12_Pin;
  GPIO_InitStruct.Mode = GPIO_MODE_IT_RISING;
  GPIO_InitStruct.Pull = GPIO_NOPULL;
  HAL_GPIO_Init(GPIOD, &GPIO_InitStruct);

  /*Configure GPIO pins : USB_OTG_FS_PWR_EN_Pin SPBTLE_RF_SPI3_CSN_Pin PMOD_RESET_Pin STSAFE_A100_RESET_Pin */
  GPIO_InitStruct.Pin = USB_OTG_FS_PWR_EN_Pin|SPBTLE_RF_SPI3_CSN_Pin|PMOD_RESET_Pin|STSAFE_A100_RESET_Pin;
  GPIO_InitStruct.Mode = GPIO_MODE_OUTPUT_PP;
  GPIO_InitStruct.Pull = GPIO_NOPULL;
  GPIO_InitStruct.Speed = GPIO_SPEED_FREQ_LOW;
  HAL_GPIO_Init(GPIOD, &GPIO_InitStruct);

  /*Configure GPIO pins : VL53L0X_XSHUT_Pin LED3_WIFI__LED4_BLE_Pin */
  GPIO_InitStruct.Pin = VL53L0X_XSHUT_Pin|LED3_WIFI__LED4_BLE_Pin;
  GPIO_InitStruct.Mode = GPIO_MODE_OUTPUT_PP;
  GPIO_InitStruct.Pull = GPIO_NOPULL;
  GPIO_InitStruct.Speed = GPIO_SPEED_FREQ_LOW;
  HAL_GPIO_Init(GPIOC, &GPIO_InitStruct);

  /*Configure GPIO pins : VL53L0X_GPIO1_EXTI7_Pin LSM3MDL_DRDY_EXTI8_Pin */
  GPIO_InitStruct.Pin = VL53L0X_GPIO1_EXTI7_Pin|LSM3MDL_DRDY_EXTI8_Pin;
  GPIO_InitStruct.Mode = GPIO_MODE_IT_RISING;
  GPIO_InitStruct.Pull = GPIO_NOPULL;
  HAL_GPIO_Init(GPIOC, &GPIO_InitStruct);

  /*Configure GPIO pin : PMOD_SPI2_SCK_Pin */
  GPIO_InitStruct.Pin = PMOD_SPI2_SCK_Pin;
  GPIO_InitStruct.Mode = GPIO_MODE_AF_PP;
  GPIO_InitStruct.Pull = GPIO_NOPULL;
  GPIO_InitStruct.Speed = GPIO_SPEED_FREQ_VERY_HIGH;
  GPIO_InitStruct.Alternate = GPIO_AF5_SPI2;
  HAL_GPIO_Init(PMOD_SPI2_SCK_GPIO_Port, &GPIO_InitStruct);

  /*Configure GPIO pins : PMOD_UART2_CTS_Pin PMOD_UART2_RTS_Pin PMOD_UART2_TX_Pin PMOD_UART2_RX_Pin */
  GPIO_InitStruct.Pin = PMOD_UART2_CTS_Pin|PMOD_UART2_RTS_Pin|PMOD_UART2_TX_Pin|PMOD_UART2_RX_Pin;
  GPIO_InitStruct.Mode = GPIO_MODE_AF_PP;
  GPIO_InitStruct.Pull = GPIO_NOPULL;
  GPIO_InitStruct.Speed = GPIO_SPEED_FREQ_VERY_HIGH;
  GPIO_InitStruct.Alternate = GPIO_AF7_USART2;
  HAL_GPIO_Init(GPIOD, &GPIO_InitStruct);

  /* EXTI interrupt init*/
  HAL_NVIC_SetPriority(EXTI9_5_IRQn, 0, 0);
  HAL_NVIC_EnableIRQ(EXTI9_5_IRQn);

  HAL_NVIC_SetPriority(EXTI15_10_IRQn, 0, 0);
  HAL_NVIC_EnableIRQ(EXTI15_10_IRQn);

}

void Error_Handler(void)
{
}

/************************ (C) COPYRIGHT STMicroelectronics *****END OF FILE****/
